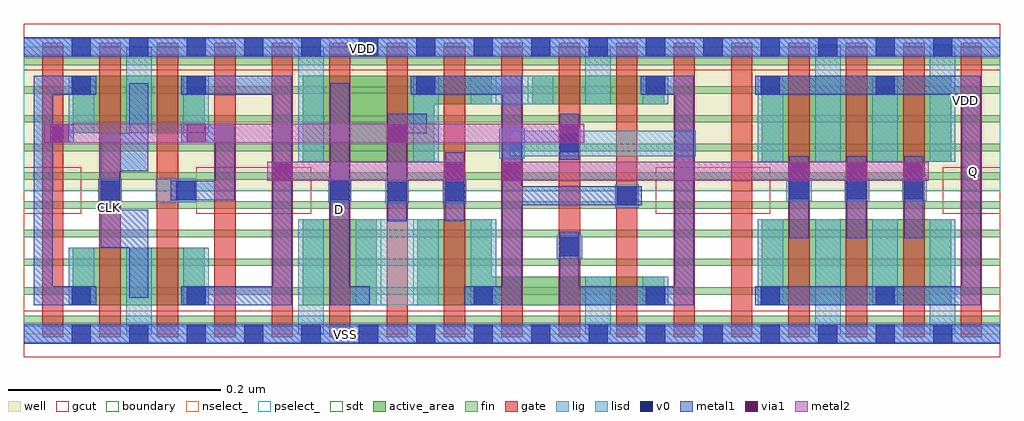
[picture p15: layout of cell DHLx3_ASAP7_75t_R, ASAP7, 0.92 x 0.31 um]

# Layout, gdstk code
import gdstk
lib = gdstk.Library(unit=1e-6, precision=1e-09)
def R(c, l, rs):  # rectangles x0, y0, x1, y1
    for r in rs: c.add(gdstk.rectangle(r[:2], r[2:], *l))
def A(c, l, x, y, w, h, nx, ny, dx, dy):  # array of equal rectangles
    R(c, l, [(x+i*dx, y+j*dy, x+i*dx+w, y+j*dy+h) for i in range(nx) for j in range(ny)])
def P(c, l, *ps):  # polygons
    for p in ps: c.add(gdstk.Polygon(p, *l))
well = (1, 0)
fin = (2, 0)
gate = (7, 0)
gcut = (10, 0)
active_area = (11, 0)
nselect_ = (12, 0)
pselect_ = (13, 0)
lig = (16, 0)
lisd = (17, 0)
v0 = (18, 0)
metal1 = (19, 0)
metal2 = (20, 0)
via1 = (21, 0)
sdt = (88, 0)
boundary = (100, 0)

dhlx3_asap7_75t_r = lib.new_cell('DHLx3_ASAP7_75t_R')
R(dhlx3_asap7_75t_r, well, [(0,0.135,0.918,0.27)])
A(dhlx3_asap7_75t_r, fin, 0, 0.01, 0.918, 0.007, 1, 10, 0, 0.027)
A(dhlx3_asap7_75t_r, gate, 0.017, -0.003, 0.02, 0.277, 17, 1, 0.054, 0)
R(dhlx3_asap7_75t_r, gcut, [(0,-0.022,0.918,0.022), (0,0.113,0.054,0.157), (0.162,0.113,0.27,0.157), (0.594,0.113,0.702,0.157), (0.864,0.113,0.918,0.157), (0,0.248,0.918,0.292)])
R(dhlx3_asap7_75t_r, active_area, [(0.046,0.027,0.17,0.081), (0.262,0.027,0.332,0.108), (0.694,0.027,0.872,0.108), (0.694,0.162,0.872,0.243), (0.046,0.189,0.17,0.243), (0.478,0.216,0.602,0.243)])
P(dhlx3_asap7_75t_r, active_area, [(0.37,0.027),(0.37,0.108),(0.44,0.108),(0.44,0.054),(0.602,0.054),(0.602,0.027)],
  [(0.262,0.162),(0.262,0.243),(0.44,0.243),(0.44,0.216),(0.386,0.216),(0.386,0.162)])
R(dhlx3_asap7_75t_r, nselect_, [(0,0,0.918,0.135)])
R(dhlx3_asap7_75t_r, pselect_, [(0,0.135,0.918,0.27)])
R(dhlx3_asap7_75t_r, lig, [(0,-0.008,0.918,0.008), (0.501,0.071,0.525,0.093), (0.556,0.119,0.578,0.141), (0.34,0.123,0.362,0.145), (0.394,0.123,0.416,0.145), (0.07,0.124,0.092,0.146), (0.124,0.124,0.162,0.146), (0.286,0.124,0.308,0.146), (0.717,0.125,0.741,0.147), (0.772,0.125,0.795,0.147), (0.826,0.125,0.849,0.147), (0.447,0.165,0.471,0.193), (0,0.262,0.918,0.278)])
R(dhlx3_asap7_75t_r, lisd, [(0.096,0,0.12,0.081), (0.258,0,0.282,0.108), (0.528,0,0.552,0.054), (0.744,0,0.768,0.108), (0.852,0,0.876,0.108), (0.042,0.027,0.066,0.081), (0.15,0.027,0.174,0.081), (0.312,0.027,0.39,0.108), (0.42,0.027,0.444,0.108), (0.582,0.027,0.606,0.054), (0.69,0.027,0.714,0.108), (0.798,0.027,0.822,0.108), (0.258,0.162,0.282,0.27), (0.366,0.162,0.39,0.243), (0.69,0.162,0.714,0.243), (0.744,0.162,0.768,0.272), (0.798,0.162,0.822,0.243), (0.852,0.162,0.876,0.272), (0.457,0.167,0.632,0.191), (0.042,0.189,0.066,0.243), (0.096,0.189,0.12,0.27), (0.15,0.189,0.174,0.243), (0.42,0.216,0.498,0.243), (0.528,0.216,0.552,0.27), (0.582,0.216,0.606,0.243)])
A(dhlx3_asap7_75t_r, v0, 0.045, -0.009, 0.018, 0.018, 16, 2, 0.054, 0.27)
A(dhlx3_asap7_75t_r, v0, 0.585, 0.027, 0.018, 0.018, 3, 1, 0.108, 0)
A(dhlx3_asap7_75t_r, v0, 0.72, 0.127, 0.018, 0.018, 3, 1, 0.054, 0)
A(dhlx3_asap7_75t_r, v0, 0.153, 0.225, 0.018, 0.018, 3, 1, 0.216, 0)
R(dhlx3_asap7_75t_r, v0, [(0.045,0.027,0.063,0.045), (0.153,0.027,0.171,0.045), (0.423,0.027,0.441,0.045), (0.504,0.073,0.522,0.091), (0.558,0.121,0.576,0.139), (0.342,0.125,0.36,0.143), (0.396,0.125,0.414,0.143), (0.072,0.126,0.09,0.144), (0.143,0.126,0.161,0.144), (0.288,0.126,0.306,0.144), (0.504,0.171,0.522,0.189), (0.045,0.225,0.063,0.243), (0.693,0.225,0.711,0.243), (0.801,0.225,0.819,0.243)])
A(dhlx3_asap7_75t_r, metal1, 0.72, 0.09, 0.018, 0.077, 3, 1, 0.054, 0)
R(dhlx3_asap7_75t_r, metal1, [(0,-0.009,0.918,0.009), (0.396,0.106,0.414,0.171), (0.504,0.164,0.522,0.207), (0,0.261,0.918,0.279)])
P(dhlx3_asap7_75t_r, metal1, [(0.688,0.027),(0.688,0.045),(0.882,0.045),(0.882,0.225),(0.688,0.225),(0.688,0.243),(0.9,0.243),(0.9,0.027)],
  [(0.504,0.027),(0.504,0.096),(0.522,0.096),(0.522,0.045),(0.612,0.045),(0.612,0.225),(0.58,0.225),(0.58,0.243),(0.63,0.243),(0.63,0.027)],
  [(0.414,0.027),(0.414,0.045),(0.45,0.045),(0.45,0.225),(0.364,0.225),(0.364,0.243),(0.468,0.243),(0.468,0.139),(0.581,0.139),(0.581,0.121),(0.468,0.121),(0.468,0.027)],
  [(0.342,0.106),(0.342,0.207),(0.379,0.207),(0.379,0.189),(0.36,0.189),(0.36,0.106)],
  [(0.288,0.027),(0.288,0.236),(0.306,0.236),(0.306,0.045),(0.325,0.045),(0.325,0.027)],
  [(0.148,0.027),(0.148,0.045),(0.234,0.045),(0.234,0.225),(0.148,0.225),(0.148,0.243),(0.252,0.243),(0.252,0.027)],
  [(0.009,0.027),(0.009,0.243),(0.068,0.243),(0.068,0.225),(0.027,0.225),(0.027,0.198),(0.047,0.198),(0.047,0.18),(0.027,0.18),(0.027,0.045),(0.068,0.045),(0.068,0.027)],
  [(0.099,0.034),(0.099,0.081),(0.072,0.081),(0.072,0.189),(0.099,0.189),(0.099,0.236),(0.117,0.236),(0.117,0.153),(0.09,0.153),(0.09,0.117),(0.117,0.117),(0.117,0.034)],
  [(0.138,0.126),(0.138,0.144),(0.18,0.144),(0.18,0.18),(0.148,0.18),(0.148,0.198),(0.198,0.198),(0.198,0.126)])
R(dhlx3_asap7_75t_r, metal2, [(0.229,0.144,0.414,0.162), (0.45,0.144,0.851,0.162), (0.019,0.18,0.527,0.198)])
A(dhlx3_asap7_75t_r, via1, 0.72, 0.144, 0.018, 0.018, 3, 1, 0.054, 0)
R(dhlx3_asap7_75t_r, via1, [(0.234,0.144,0.252,0.162), (0.396,0.144,0.414,0.162), (0.45,0.144,0.468,0.162), (0.024,0.18,0.042,0.198), (0.153,0.18,0.171,0.198), (0.342,0.18,0.36,0.198), (0.504,0.18,0.522,0.198)])
A(dhlx3_asap7_75t_r, sdt, 0.042, 0.027, 0.024, 0.054, 3, 2, 0.054, 0.162)
A(dhlx3_asap7_75t_r, sdt, 0.258, 0.027, 0.024, 0.081, 4, 1, 0.054, 0)
A(dhlx3_asap7_75t_r, sdt, 0.69, 0.027, 0.024, 0.081, 4, 2, 0.054, 0.135)
A(dhlx3_asap7_75t_r, sdt, 0.42, 0.216, 0.024, 0.027, 4, 1, 0.054, 0)
R(dhlx3_asap7_75t_r, sdt, [(0.528,0.027,0.552,0.054), (0.582,0.027,0.606,0.054), (0.258,0.162,0.282,0.243), (0.366,0.162,0.39,0.243)])
R(dhlx3_asap7_75t_r, boundary, [(0,0,0.918,0.27)])
dhlx3_asap7_75t_r.add(gdstk.Label('VDD', (0.318,0.269), layer=19, texttype=251))
dhlx3_asap7_75t_r.add(gdstk.Label('CLK', (0.08,0.119), layer=19, texttype=251))
dhlx3_asap7_75t_r.add(gdstk.Label('D', (0.297,0.117), layer=19, texttype=251))
dhlx3_asap7_75t_r.add(gdstk.Label('VSS', (0.302,0), layer=19, texttype=251))
dhlx3_asap7_75t_r.add(gdstk.Label('Q', (0.893,0.153), layer=19, texttype=251))
dhlx3_asap7_75t_r.add(gdstk.Label('VDD', (0.886,0.22), layer=1, texttype=251))
dhlx3_asap7_75t_r.add(gdstk.Label('VSS', (0.955,0.219), layer=3, texttype=251))

lib.write_gds('DHLx3_ASAP7_75t_R.gds')
